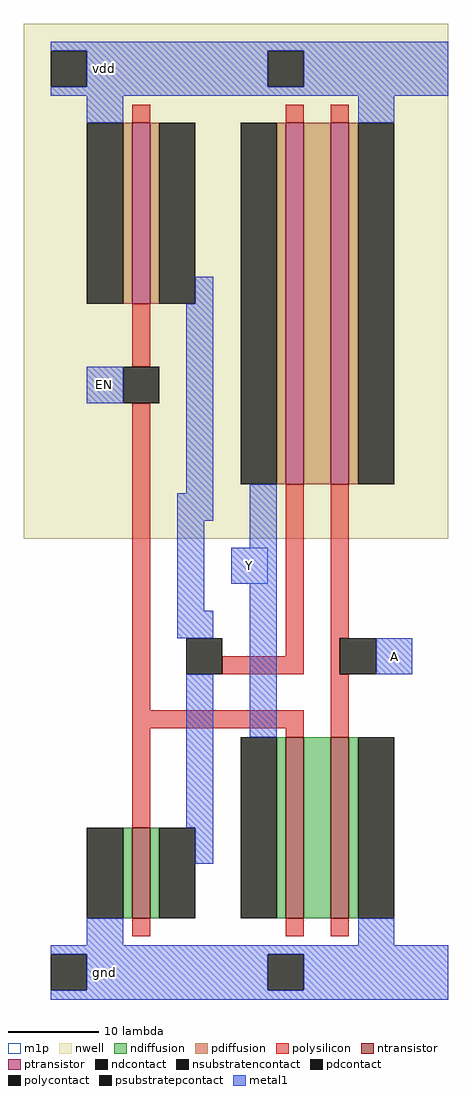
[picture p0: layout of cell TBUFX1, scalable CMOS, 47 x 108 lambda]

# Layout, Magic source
magic
tech scmos
<< nwell >>
rect -5 48 42 105
<< ntransistor >>
rect 7 6 9 16
rect 24 6 26 26
rect 29 6 31 26
<< ptransistor >>
rect 7 74 9 94
rect 24 54 26 94
rect 29 54 31 94
<< ndiffusion >>
rect 6 6 7 16
rect 9 6 10 16
rect 23 6 24 26
rect 26 6 29 26
rect 31 6 32 26
<< pdiffusion >>
rect 6 74 7 94
rect 9 74 10 94
rect 23 54 24 94
rect 26 54 29 94
rect 31 54 32 94
<< ndcontact >>
rect 2 6 6 16
rect 10 6 14 16
rect 19 6 23 26
rect 32 6 36 26
<< pdcontact >>
rect 2 74 6 94
rect 10 74 14 94
rect 19 54 23 94
rect 32 54 36 94
<< psubstratepcontact >>
rect -2 -2 2 2
rect 22 -2 26 2
<< nsubstratencontact >>
rect -2 98 2 102
rect 22 98 26 102
<< polysilicon >>
rect 7 94 9 96
rect 24 94 26 96
rect 29 94 31 96
rect 7 67 9 74
rect 7 29 9 63
rect 24 35 26 54
rect 17 33 26 35
rect 29 37 31 54
rect 29 33 30 37
rect 7 27 26 29
rect 7 16 9 27
rect 24 26 26 27
rect 29 26 31 33
rect 7 4 9 6
rect 24 4 26 6
rect 29 4 31 6
<< polycontact >>
rect 6 63 10 67
rect 13 33 17 37
rect 30 33 34 37
<< metal1 >>
rect -2 102 42 103
rect 2 98 22 102
rect 26 98 42 102
rect -2 97 42 98
rect 2 94 6 97
rect 32 94 36 97
rect 14 74 16 77
rect 2 63 6 67
rect 13 53 16 74
rect 12 50 16 53
rect 12 40 15 50
rect 20 47 23 54
rect 18 43 23 47
rect 12 37 16 40
rect 13 16 16 33
rect 20 26 23 43
rect 34 33 38 37
rect 14 12 16 16
rect 2 3 6 6
rect 32 3 36 6
rect -2 2 42 3
rect 2 -2 22 2
rect 26 -2 42 2
rect -2 -3 42 -2
<< m1p >>
rect 2 63 6 67
rect 18 43 22 47
rect 34 33 38 37
<< labels >>
rlabel metal1 4 100 4 100 6 vdd
rlabel metal1 4 0 4 0 8 gnd
rlabel m1p 4 65 4 65 1 EN
rlabel m1p 36 35 36 35 1 A
rlabel metal1 20 45 20 45 1 Y
<< end >>
